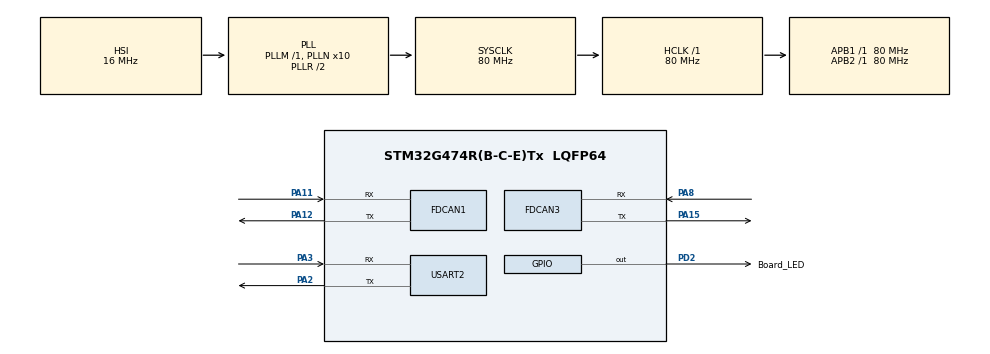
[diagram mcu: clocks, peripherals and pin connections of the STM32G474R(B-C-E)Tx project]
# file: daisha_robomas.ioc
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FDCAN1.CalculateBaudRateNominal=1000000
FDCAN1.CalculateTimeBitNominal=1000
FDCAN1.CalculateTimeQuantumNominal=50.0
FDCAN1.DataPrescaler=2
FDCAN1.DataTimeSeg1=15
FDCAN1.DataTimeSeg2=4
FDCAN1.FrameFormat=FDCAN_FRAME_FD_BRS
FDCAN1.NominalPrescaler=4
FDCAN1.NominalTimeSeg1=15
FDCAN1.NominalTimeSeg2=4
FDCAN1.StdFiltersNbr=1
FDCAN3.CalculateBaudRateNominal=1000000
FDCAN3.CalculateTimeBitNominal=1000
FDCAN3.CalculateTimeQuantumNominal=50.0
FDCAN3.DataPrescaler=2
FDCAN3.DataTimeSeg1=15
FDCAN3.DataTimeSeg2=4
FDCAN3.FrameFormat=FDCAN_FRAME_FD_BRS
FDCAN3.NominalPrescaler=4
FDCAN3.NominalTimeSeg1=15
FDCAN3.NominalTimeSeg2=4
FDCAN3.StdFiltersNbr=1
Mcu.Family=STM32G4
Mcu.Name=STM32G474R(B-C-E)Tx
Mcu.Package=LQFP64
NVIC.FDCAN1_IT0_IRQn=true\:0\:0\:false\:false\:true\:true\:true\:true
NVIC.FDCAN1_IT1_IRQn=true\:0\:0\:false\:false\:true\:true\:true\:true
NVIC.FDCAN3_IT0_IRQn=true\:0\:0\:false\:false\:true\:true\:true\:true
NVIC.FDCAN3_IT1_IRQn=true\:0\:0\:false\:false\:true\:true\:true\:true
NVIC.PriorityGroup=NVIC_PRIORITYGROUP_4
NVIC.TIM1_TRG_COM_TIM17_IRQn=true\:0\:0\:false\:false\:true\:true\:true\:true
NVIC.TIM6_DAC_IRQn=true\:0\:0\:false\:false\:true\:true\:true\:true
NVIC.TIM7_DAC_IRQn=true\:0\:0\:false\:false\:true\:true\:true\:true
NVIC.USART2_IRQn=true\:0\:0\:false\:false\:true\:true\:true\:true
PA11.Mode=FDCAN_Activate
PA11.Signal=FDCAN1_RX
PA12.Mode=FDCAN_Activate
PA12.Signal=FDCAN1_TX
PA15.Mode=FDCAN_Activate
PA15.Signal=FDCAN3_TX
PA2.Mode=Asynchronous
PA2.Signal=USART2_TX
PA3.Mode=Asynchronous
PA3.Signal=USART2_RX
PA8.Mode=FDCAN_Activate
PA8.Signal=FDCAN3_RX
PD2.GPIO_Label=Board_LED
PD2.Signal=GPIO_Output
ProjectManager.HeapSize=0x200
ProjectManager.StackSize=0x400
ProjectManager.TargetToolchain=STM32CubeIDE
RCC.ADC12Freq_Value=80000000
RCC.ADC345Freq_Value=80000000
RCC.AHBFreq_Value=80000000
RCC.APB1Freq_Value=80000000
RCC.APB1TimFreq_Value=80000000
RCC.APB2Freq_Value=80000000
RCC.APB2TimFreq_Value=80000000
RCC.CortexFreq_Value=80000000
RCC.EXTERNAL_CLOCK_VALUE=12288000
RCC.HCLKFreq_Value=80000000
RCC.HSE_VALUE=8000000
RCC.HSI48_VALUE=48000000
RCC.HSI_VALUE=16000000
RCC.LSE_VALUE=32768
RCC.PLLN=10
RCC.SYSCLKFreq_VALUE=80000000
RCC.SYSCLKSource=RCC_SYSCLKSOURCE_PLLCLK
RCC.USBFreq_Value=80000000
RCC.VCOOutputFreq_Value=160000000
TIM17.PeriodNoDither=7999
TIM17.Prescaler=99
TIM6.PeriodNoDither=7999
TIM6.Prescaler=9
TIM7.PeriodNoDither=7999
TIM7.Prescaler=99
USART2.VirtualMode-Asynchronous=VM_ASYNC
VP_SYS_VS_DBSignals.Mode=DisableDeadBatterySignals
VP_TIM17_VS_ClockSourceINT.Mode=Enable_Timer
VP_TIM6_VS_ClockSourceINT.Mode=Enable_Timer
VP_TIM7_VS_ClockSourceINT.Mode=Enable_Timer
board=custom

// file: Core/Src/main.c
/* USER CODE BEGIN Header */
/**
  ******************************************************************************
  * @file           : main.c
  * @brief          : Main program body
  ******************************************************************************
  * @attention
  *
  * Copyright (c) 2024 STMicroelectronics.
  * All rights reserved.
  *
  * This software is licensed under terms that can be found in the LICENSE file
  * in the root directory of this software component.
  * If no LICENSE file comes with this software, it is provided AS-IS.
  *
  ******************************************************************************
  */
/* USER CODE END Header */
#include "main.h"

/* USER CODE BEGIN Includes */
#include <stdio.h>
#include <math.h>
/* USER CODE END Includes */

/* USER CODE BEGIN PTD */
typedef struct{
	uint16_t CANID;
	uint8_t motorID;
	int16_t trgVel;
	volatile int16_t actVel;
	volatile int16_t p_actVel;
	volatile int16_t cu;
	double angle;
	int16_t actCurrent;
	float hensa;
	float ind;
	float w;
}motor;

typedef struct{
	volatile int16_t x;
	volatile int16_t y;
	volatile float theta;
}purpose;
/* USER CODE END PTD */

/* USER CODE BEGIN PD */

#define R_F 4
#define L_F 3
#define R_B 1
#define L_B 2

#define PI 3.1415

#define true 1
#define false 0

#define nobori 0
#define kudari 1
#define ireru 2

#define red_t 0
#define red_o 1

#define yellow_t 2
#define yellow_o 3

#define blue_t 4
#define blue_o 5

#define a 288
/* USER CODE END PD */

FDCAN_HandleTypeDef hfdcan1;
FDCAN_HandleTypeDef hfdcan3;

TIM_HandleTypeDef htim6;
TIM_HandleTypeDef htim7;
TIM_HandleTypeDef htim17;

UART_HandleTypeDef huart2;

/* USER CODE BEGIN PV */
const float a0 = PI/180*45;
const float a1 = PI/180*135;
const float a2 = PI/180*225;
const float a3 = PI/180*315;
const float r = 0.03;//m
const float R = 0.144;//m

FDCAN_TxHeaderTypeDef TxHeader;
FDCAN_RxHeaderTypeDef RxHeader;
FDCAN_TxHeaderTypeDef TxHeader_motor;
FDCAN_RxHeaderTypeDef RxHeader_motor;
FDCAN_FilterTypeDef sFilterConfig;

uint8_t TxData[8] = {};
uint8_t RxData[8] = {};
uint8_t TxData_motor[8] = {};
uint8_t RxData_motor[8] = {};

motor robomas[8] = {
		{0x201, 1, 0, 0, 0, 0, 0, 0, 0, 0, 0},
		{0x202, 2, 0, 0, 0, 0, 0, 0, 0, 0, 0},
		{0x203, 3, 0, 0, 0, 0, 0, 0, 0, 0, 0},
		{0x204, 4, 0, 0, 0, 0, 0, 0, 0, 0, 0},
		{0x205, 5, 0, 0, 0, 0, 0, 0, 0, 0, 0},
		{0x206, 6, 0, 0, 0, 0, 0, 0, 0, 0, 0},
		{0x207, 7, 0, 0, 0, 0, 0, 0, 0, 0, 0},
		{0x208, 8, 0, 0, 0, 0, 0, 0, 0, 0, 0},
};

volatile float k_p = 7, k_i = 0.5, k_d = 0.0001;

float x = 0, y = 0, theta = 0;
float vx = 0, vy = 0, omega = 0;

purpose mokuhyo[] = {
		{-50, 250+a/2, PI/2},
		{-100, 250+a/2, PI/2},//red
		{-50, 900+a/2,PI/2},
		{-100, 900+a/2,PI/2},//yellow
		{-50, 1550+a/2,PI/2},
		{-100, 1550+a/2,PI/2},//blue
		{990, 1550+a/2, PI},
		{}
};
int16_t m_state = 0;

int16_t flag_loc = 0;
int16_t initial;
int16_t flag_servo = 0;

int16_t t_1 = 0, t_3 = 0, t_5 = 0, t_7 = 0;
int16_t state_6_7 = nobori;

int16_t iro_t = 0;
/* USER CODE END PV */

void SystemClock_Config(void);
static void MX_GPIO_Init(void);
static void MX_FDCAN1_Init(void);
static void MX_USART2_UART_Init(void);
static void MX_FDCAN3_Init(void);
static void MX_TIM6_Init(void);
static void MX_TIM7_Init(void);
static void MX_TIM17_Init(void);

/* USER CODE BEGIN 0 */
void HAL_FDCAN_RxFifo0Callback(FDCAN_HandleTypeDef *hfdcan, uint32_t RxFifo0ITs){
	if ((RxFifo0ITs & FDCAN_IT_RX_FIFO0_NEW_MESSAGE) != RESET) {

	        /* Retrieve Rx messages from RX FIFO0 */
		if (HAL_FDCAN_GetRxMessage(&hfdcan3, FDCAN_RX_FIFO0, &RxHeader_motor, RxData_motor) != HAL_OK) {
			printf("fdcan_getrxmessage_motor is error\r\n");
			Error_Handler();
		}
		for (int i=0; i<=7; i++){
			if (RxHeader_motor.Identifier == (robomas[i].CANID)) {
				robomas[i].angle = (int16_t)((RxData_motor[0] << 8) | RxData_motor[1]);
				robomas[i].actVel = (int16_t)((RxData_motor[2] << 8) | RxData_motor[3]);
				robomas[i].actCurrent = (int16_t)((RxData_motor[4] << 8) | RxData_motor[5]);
			}
		}
	}
}

void HAL_FDCAN_RxFifo1Callback(FDCAN_HandleTypeDef *hfdcan, uint32_t RxFifo1ITs){
	if (RESET != (RxFifo1ITs & FDCAN_IT_RX_FIFO1_NEW_MESSAGE)) {

	        /* Retrieve Rx messages from RX FIFO0 */

		if (HAL_OK != HAL_FDCAN_GetRxMessage(&hfdcan1, FDCAN_RX_FIFO1, &RxHeader, RxData)) {
			printf("fdcan_getrxmessage is error\r\n");
			Error_Handler();
		}

		if (0x400 == RxHeader.Identifier) {
			x = (int16_t)((RxData[0] << 8) | RxData[1]);
			y = (int16_t)((RxData[2] << 8) | RxData[3]);
			theta = (int16_t)((RxData[4] << 8) | RxData[5]);
			theta /= 400;
		}
	}
}

void FDCAN_RxTxSettings(void){
	FDCAN_FilterTypeDef FDCAN_Filter_settings;
	FDCAN_Filter_settings.IdType = FDCAN_STANDARD_ID;
	FDCAN_Filter_settings.FilterIndex = 0;
	FDCAN_Filter_settings.FilterType = FDCAN_FILTER_RANGE;
	FDCAN_Filter_settings.FilterConfig = FDCAN_FILTER_TO_RXFIFO1;
	FDCAN_Filter_settings.FilterID1 = 0;
	FDCAN_Filter_settings.FilterID2 = 0x7FF;

	TxHeader.Identifier = 0x000;
	TxHeader.IdType = FDCAN_STANDARD_ID;
	TxHeader.TxFrameType = FDCAN_DATA_FRAME;
	TxHeader.DataLength = FDCAN_DLC_BYTES_8;
	TxHeader.ErrorStateIndicator = FDCAN_ESI_ACTIVE;
	TxHeader.BitRateSwitch = FDCAN_BRS_ON;
	TxHeader.FDFormat = FDCAN_FD_CAN;
	TxHeader.TxEventFifoControl = FDCAN_NO_TX_EVENTS;
	TxHeader.MessageMarker = 0;

	if (HAL_OK != HAL_FDCAN_ConfigFilter(&hfdcan1, &FDCAN_Filter_settings)){
		printf("fdcan_configfilter is error\r\n");
		Error_Handler();
	}

	if (HAL_OK != HAL_FDCAN_ConfigGlobalFilter(&hfdcan1, FDCAN_REJECT, FDCAN_FILTER_REJECT, FDCAN_FILTER_REMOTE, FDCAN_FILTER_REMOTE)){
		printf("fdcan_configglobalfilter is error\r\n");
		Error_Handler();
	}

	if (HAL_OK != HAL_FDCAN_Start(&hfdcan1)) {
		printf("fdcan_start is error\r\n");
		Error_Handler();
	}

	if (HAL_OK != HAL_FDCAN_ActivateNotification(&hfdcan1, FDCAN_IT_RX_FIFO1_NEW_MESSAGE, 0)){
		printf("fdcan_activatenotification is error\r\n");
		Error_Handler();
	}
}

void FDCAN_motor_RxTxSettings(void) {
	FDCAN_FilterTypeDef FDCAN_Filter_settings_motor;
	FDCAN_Filter_settings_motor.IdType = FDCAN_STANDARD_ID;
	FDCAN_Filter_settings_motor.FilterIndex = 0;
	FDCAN_Filter_settings_motor.FilterType = FDCAN_FILTER_RANGE;
	FDCAN_Filter_settings_motor.FilterConfig = FDCAN_FILTER_TO_RXFIFO0;
	FDCAN_Filter_settings_motor.FilterID1 = 0x200;
	FDCAN_Filter_settings_motor.FilterID2 = 0x210;

	TxHeader_motor.Identifier = 0x200;
	TxHeader_motor.IdType = FDCAN_STANDARD_ID;
	TxHeader_motor.TxFrameType = FDCAN_DATA_FRAME;
	TxHeader_motor.DataLength = FDCAN_DLC_BYTES_8;
	TxHeader_motor.ErrorStateIndicator = FDCAN_ESI_ACTIVE;
	TxHeader_motor.BitRateSwitch = FDCAN_BRS_OFF;
	TxHeader_motor.FDFormat = FDCAN_CLASSIC_CAN;
	TxHeader_motor.TxEventFifoControl = FDCAN_NO_TX_EVENTS;
	TxHeader_motor.MessageMarker = 0;

	if (HAL_OK != HAL_FDCAN_ConfigFilter(&hfdcan3, &FDCAN_Filter_settings_motor)){
		printf("fdcan_configfilter is error\r\n");
		Error_Handler();
	}

	if (HAL_OK != HAL_FDCAN_ConfigGlobalFilter(&hfdcan3, FDCAN_REJECT, FDCAN_FILTER_REJECT, FDCAN_FILTER_REMOTE, FDCAN_FILTER_REMOTE)){
		printf("fdcan_configglobalfilter is error\r\n");
		Error_Handler();
	}

	if (HAL_OK != HAL_FDCAN_Start(&hfdcan3)) {
		printf("fdcan_start is error\r\n");
		Error_Handler();
	}

	if (HAL_OK != HAL_FDCAN_ActivateNotification(&hfdcan3, FDCAN_IT_RX_FIFO0_NEW_MESSAGE, 0)){
		printf("fdcan_activatenotification is error\r\n");
		Error_Handler();
	}
}

void omni_calc(float theta,float vx,float vy,float omega,float *w0,float *w1,float *w2,float *w3){

	float v[3] = {vx, vy, omega};
	float sint = sin(theta);
	float cost = cos(theta);

	float arr[4][3] ={
			{-cos(a0)*sint-sin(a0)*cost, cos(a0)*cost-sin(a0)*sint, R},
			{-cos(a1)*sint-sin(a1)*cost, cos(a1)*cost-sin(a1)*sint, R},
			{-cos(a2)*sint-sin(a2)*cost, cos(a2)*cost-sin(a2)*sint, R},
			{-cos(a3)*sint-sin(a3)*cost, cos(a3)*cost-sin(a3)*sint, R}
	};

	*w0 = (arr[0][0] * v[0] + arr[0][1] * v[1] + arr[0][2] * v[2]) / r;
	*w1 = (arr[1][0] * v[0] + arr[1][1] * v[1] + arr[1][2] * v[2]) / r;
	*w2 = (arr[2][0] * v[0] + arr[2][1] * v[1] + arr[2][2] * v[2]) / r;
	*w3 = (arr[3][0] * v[0] + arr[3][1] * v[1] + arr[3][2] * v[2]) / r;
}

void HAL_TIM_PeriodElapsedCallback(TIM_HandleTypeDef *htim){
	if(&htim6 == htim){
		for (int i=0; i<=3; i++){
			robomas[i].hensa = robomas[i].trgVel - robomas[i].actVel;
			if (robomas[i].hensa >= 1000) robomas[i].hensa = 1000;
			else if (robomas[i].hensa <= -1000) robomas[i].hensa = -1000;
			float d = (robomas[i].actVel - robomas[i].p_actVel) / 0.001;
			robomas[i].ind += robomas[i].hensa*0.1;
			if (d >= 30000) d = 30000;
			else if (d <= -30000) d = -30000;
			if (robomas[i].ind >= 10000) robomas[i].ind = 10000;
			else if (robomas[i].ind <= -10000) robomas[i].ind = -10000;

			float t = k_p*robomas[i].hensa;
			if (t>=10000) t = 10000;
			else if (t<=-10000) t = -10000;
			robomas[i].cu = (int16_t)(t+k_i*robomas[i].ind+k_d*d);
			if (robomas[i].cu <= -10000) robomas[i].cu = -10000;
			else if (robomas[i].cu >= 10000) robomas[i].cu = 10000;

			TxData_motor[i*2] = (robomas[i].cu) >> 8;
			TxData_motor[i*2+1] = (uint8_t)((robomas[i].cu) & 0xff);
			robomas[i].p_actVel = robomas[i].actVel;
		}
	}
	if(&htim7 == htim){
		float k_p = 0.001, k_i = 0, k_d = 0;
		float k_p_t = 1, k_i_t = 0, k_d_t = 0;
		float hensax = mokuhyo[m_state].x - x;
		//float dx = (float)x - p_x;
		/*
		mokuhyo[m_state].indx += hensax;*/
		vx = (k_p*hensax/* + k_i*mokuhyo[m_state].indx + k_d*dx*/);

		//p_x = x;

		float hensay = mokuhyo[m_state].y -y;
		//float dy = (float)y - p_y;/*
		//mokuhyo[m_state].indy += hensay;*/
		vy = (k_p*hensay/* + k_i*mokuhyo[m_state].indy + k_d*dy*/);

		//p_y = y;

		float hensat = mokuhyo[m_state].theta - theta;
		//float dt = theta - p_t;/*
		//mokuhyo[m_state].indt += hensat;*/
		omega =(k_p_t*hensat/* + k_i_t*mokuhyo[m_state].indt + k_d_t*dt*/);
/*
		p_t = theta;
		vx_tusin = (int16_t)(vx * 1000);
		vy_tusin = (int16_t)(vy * 1000);
		omega_tusin = (int16_t)(omega * 400);*/
	}
	if(&htim7 == htim){
		if (fabsf(x - mokuhyo[m_state].x) < 10 && fabsf(y - mokuhyo[m_state].y) < 10 && (fabsf(theta) - mokuhyo[m_state].theta) < 0.01) {
			if (red_t == m_state) {
				m_state = red_o;
				flag_loc = 1;
			}
			else if (red_o == m_state) {
				if (t_1 >= 100) {
					m_state = blue_t;
					t_1 = 0;
				}
				else {
					t_1++;
					flag_loc = 1;
				}
			}
			else if (yellow_t == m_state) {
				m_state = yellow_o;
				flag_loc = 1;
			}
			else if (yellow_o == m_state) {
				if (t_3 >= 100) {
					m_state = blue_t;
					t_3 = 0;
				}
				else {
					t_3++;
					flag_loc = 1;
				}
			}
			else if (blue_t == m_state) {
				if (ireru == state_6_7){
					m_state = blue_o;
					flag_loc = 1;
				}
				else if (kudari == state_6_7) {
					m_state = iro_t;
					flag_loc = 1;
					state_6_7 = ireru;
				}
				else if (nobori == state_6_7) {
					m_state = 6;
					flag_loc = 1;
				}
			}
			else if (blue_o == m_state) {
				if (t_5 >= 100) {
					m_state = blue_t;
					t_5 = 0;
					flag_loc = 1;
					state_6_7 = nobori;
				}
				else {
					t_5++;
					flag_loc = 1;
				}
			}
			else if (6 == m_state) {
				if (nobori == state_6_7) {
					m_state = 7;
					flag_loc = 1;
				}
				if (kudari == state_6_7)
				m_state = blue_t;
				flag_loc = 1;
			}
			else if (7 == m_state) {
				if (t_7 >= 100) {
					m_state = 6;
					t_7 = 0;
					state_6_7 = kudari;
				}
				else {
					t_7++;
					flag_loc = 1;
				}
			}

		}
		else {
			flag_loc = 0;
		}
	}
}

int _write(int file, char *ptr, int len)
{
    HAL_UART_Transmit(&huart2,(uint8_t *)ptr,len,10);
    return len;
}
/* USER CODE END 0 */

int main(void)
{

  /* USER CODE BEGIN 1 */
	setbuf(stdout, NULL);
  /* USER CODE END 1 */

  /* MCU Configuration--------------------------------------------------------*/

  /* Reset of all peripherals, Initializes the Flash interface and the Systick. */
  HAL_Init();

  /* Configure the system clock */
  SystemClock_Config();

  /* Initialize all configured peripherals */
  MX_GPIO_Init();
  MX_FDCAN1_Init();
  MX_USART2_UART_Init();
  MX_FDCAN3_Init();
  MX_TIM6_Init();
  MX_TIM7_Init();
  MX_TIM17_Init();
  /* USER CODE BEGIN 2 */
  printf("start\r\n");
  FDCAN_motor_RxTxSettings();
  printf("can_motor_start\r\n");
  FDCAN_RxTxSettings();
  printf("can start\r\n");
  HAL_TIM_Base_Start_IT(&htim6);
  HAL_TIM_Base_Start_IT(&htim7);
  HAL_TIM_Base_Start_IT(&htim17);
  /* USER CODE END 2 */

  /* Infinite loop */
  /* USER CODE BEGIN WHILE */
  while (1)
  {
	  if (vx > 1) {
		  vx = 1;
	  }
	  if (vx < -1) {
		  vx = -1;
	  }
	  if (vy > 1) {
		  vy = 1;
	  }
	  if (vy < -1) {
		  vy = -1;
	  }
	  if (omega > 1) {
		  omega = 1;
	  }
	  if (omega < -1) {
		  omega = -1;
	  }
	  omni_calc(theta ,vx, vy, omega, &robomas[R_F-1].w, &robomas[L_F-1].w, &robomas[L_B-1].w, &robomas[R_B-1].w);
	  robomas[R_F-1].trgVel = (int)(-1*robomas[R_F-1].w*36*60/(2*PI));
	  robomas[R_B-1].trgVel = (int)(-1*robomas[R_B-1].w*36*60/(2*PI));
	  robomas[L_F-1].trgVel =  (int)(-1*robomas[L_F-1].w*36*60/(2*PI));
	  robomas[L_B-1].trgVel = (int)(-1*robomas[L_B-1].w*36*60/(2*PI));

	  if (HAL_FDCAN_AddMessageToTxFifoQ(&hfdcan3, &TxHeader_motor, TxData_motor) != HAL_OK){
		  printf("addmassage is error\r\n");
		  Error_Handler();
	  }
	  TxHeader.Identifier = 0x210;
	  TxData[0] = flag_loc;
	  if (HAL_FDCAN_AddMessageToTxFifoQ(&hfdcan1, &TxHeader, TxData)) {
		  printf("addmassage is error\r\n");
		  Error_Handler();
	  }
	  printf("%f, %f, %f, %f, %f, %f\r\n", x, y, theta, vx, vy, omega);
	  //printf("%d, %d, %f, %f, %f, %f\r\n", mokuhyo[m_state].x, mokuhyo[m_state].y, mokuhyo[m_state].theta, vx, vy, omega);
	  HAL_Delay(10);
    /* USER CODE END WHILE */

  }
}

void SystemClock_Config(void)
{
  RCC_OscInitTypeDef RCC_OscInitStruct = {0};
  RCC_ClkInitTypeDef RCC_ClkInitStruct = {0};

  /** Configure the main internal regulator output voltage
  */
  HAL_PWREx_ControlVoltageScaling(PWR_REGULATOR_VOLTAGE_SCALE1);

  /** Initializes the RCC Oscillators according to the specified parameters
  * in the RCC_OscInitTypeDef structure.
  */
  RCC_OscInitStruct.OscillatorType = RCC_OSCILLATORTYPE_HSI;
  RCC_OscInitStruct.HSIState = RCC_HSI_ON;
  RCC_OscInitStruct.HSICalibrationValue = RCC_HSICALIBRATION_DEFAULT;
  RCC_OscInitStruct.PLL.PLLState = RCC_PLL_ON;
  RCC_OscInitStruct.PLL.PLLSource = RCC_PLLSOURCE_HSI;
  RCC_OscInitStruct.PLL.PLLM = RCC_PLLM_DIV1;
  RCC_OscInitStruct.PLL.PLLN = 10;
  RCC_OscInitStruct.PLL.PLLP = RCC_PLLP_DIV2;
  RCC_OscInitStruct.PLL.PLLQ = RCC_PLLQ_DIV2;
  RCC_OscInitStruct.PLL.PLLR = RCC_PLLR_DIV2;
  if (HAL_RCC_OscConfig(&RCC_OscInitStruct) != HAL_OK)
  {
    Error_Handler();
  }

  /** Initializes the CPU, AHB and APB buses clocks
  */
  RCC_ClkInitStruct.ClockType = RCC_CLOCKTYPE_HCLK|RCC_CLOCKTYPE_SYSCLK
                              |RCC_CLOCKTYPE_PCLK1|RCC_CLOCKTYPE_PCLK2;
  RCC_ClkInitStruct.SYSCLKSource = RCC_SYSCLKSOURCE_PLLCLK;
  RCC_ClkInitStruct.AHBCLKDivider = RCC_SYSCLK_DIV1;
  RCC_ClkInitStruct.APB1CLKDivider = RCC_HCLK_DIV1;
  RCC_ClkInitStruct.APB2CLKDivider = RCC_HCLK_DIV1;

  if (HAL_RCC_ClockConfig(&RCC_ClkInitStruct, FLASH_LATENCY_2) != HAL_OK)
  {
    Error_Handler();
  }
}

static void MX_FDCAN1_Init(void)
{

  hfdcan1.Instance = FDCAN1;
  hfdcan1.Init.ClockDivider = FDCAN_CLOCK_DIV1;
  hfdcan1.Init.FrameFormat = FDCAN_FRAME_FD_BRS;
  hfdcan1.Init.Mode = FDCAN_MODE_NORMAL;
  hfdcan1.Init.AutoRetransmission = DISABLE;
  hfdcan1.Init.TransmitPause = DISABLE;
  hfdcan1.Init.ProtocolException = DISABLE;
  hfdcan1.Init.NominalPrescaler = 4;
  hfdcan1.Init.NominalSyncJumpWidth = 1;
  hfdcan1.Init.NominalTimeSeg1 = 15;
  hfdcan1.Init.NominalTimeSeg2 = 4;
  hfdcan1.Init.DataPrescaler = 2;
  hfdcan1.Init.DataSyncJumpWidth = 1;
  hfdcan1.Init.DataTimeSeg1 = 15;
  hfdcan1.Init.DataTimeSeg2 = 4;
  hfdcan1.Init.StdFiltersNbr = 1;
  hfdcan1.Init.ExtFiltersNbr = 0;
  hfdcan1.Init.TxFifoQueueMode = FDCAN_TX_FIFO_OPERATION;
  if (HAL_FDCAN_Init(&hfdcan1) != HAL_OK)
  {
    Error_Handler();
  }

}

static void MX_FDCAN3_Init(void)
{

  hfdcan3.Instance = FDCAN3;
  hfdcan3.Init.ClockDivider = FDCAN_CLOCK_DIV1;
  hfdcan3.Init.FrameFormat = FDCAN_FRAME_FD_BRS;
  hfdcan3.Init.Mode = FDCAN_MODE_NORMAL;
  hfdcan3.Init.AutoRetransmission = DISABLE;
  hfdcan3.Init.TransmitPause = DISABLE;
  hfdcan3.Init.ProtocolException = DISABLE;
  hfdcan3.Init.NominalPrescaler = 4;
  hfdcan3.Init.NominalSyncJumpWidth = 1;
  hfdcan3.Init.NominalTimeSeg1 = 15;
  hfdcan3.Init.NominalTimeSeg2 = 4;
  hfdcan3.Init.DataPrescaler = 2;
  hfdcan3.Init.DataSyncJumpWidth = 1;
  hfdcan3.Init.DataTimeSeg1 = 15;
  hfdcan3.Init.DataTimeSeg2 = 4;
  hfdcan3.Init.StdFiltersNbr = 1;
  hfdcan3.Init.ExtFiltersNbr = 0;
  hfdcan3.Init.TxFifoQueueMode = FDCAN_TX_FIFO_OPERATION;
  if (HAL_FDCAN_Init(&hfdcan3) != HAL_OK)
  {
    Error_Handler();
  }

}

static void MX_TIM6_Init(void)
{

  TIM_MasterConfigTypeDef sMasterConfig = {0};

  htim6.Instance = TIM6;
  htim6.Init.Prescaler = 9;
  htim6.Init.CounterMode = TIM_COUNTERMODE_UP;
  htim6.Init.Period = 7999;
  htim6.Init.AutoReloadPreload = TIM_AUTORELOAD_PRELOAD_DISABLE;
  if (HAL_TIM_Base_Init(&htim6) != HAL_OK)
  {
    Error_Handler();
  }
  sMasterConfig.MasterOutputTrigger = TIM_TRGO_RESET;
  sMasterConfig.MasterSlaveMode = TIM_MASTERSLAVEMODE_DISABLE;
  if (HAL_TIMEx_MasterConfigSynchronization(&htim6, &sMasterConfig) != HAL_OK)
  {
    Error_Handler();
  }

}

static void MX_TIM7_Init(void)
{

  TIM_MasterConfigTypeDef sMasterConfig = {0};

  htim7.Instance = TIM7;
  htim7.Init.Prescaler = 99;
  htim7.Init.CounterMode = TIM_COUNTERMODE_UP;
  htim7.Init.Period = 7999;
  htim7.Init.AutoReloadPreload = TIM_AUTORELOAD_PRELOAD_DISABLE;
  if (HAL_TIM_Base_Init(&htim7) != HAL_OK)
  {
    Error_Handler();
  }
  sMasterConfig.MasterOutputTrigger = TIM_TRGO_RESET;
  sMasterConfig.MasterSlaveMode = TIM_MASTERSLAVEMODE_DISABLE;
  if (HAL_TIMEx_MasterConfigSynchronization(&htim7, &sMasterConfig) != HAL_OK)
  {
    Error_Handler();
  }

}

static void MX_TIM17_Init(void)
{

  htim17.Instance = TIM17;
  htim17.Init.Prescaler = 99;
  htim17.Init.CounterMode = TIM_COUNTERMODE_UP;
  htim17.Init.Period = 7999;
  htim17.Init.ClockDivision = TIM_CLOCKDIVISION_DIV1;
  htim17.Init.RepetitionCounter = 0;
  htim17.Init.AutoReloadPreload = TIM_AUTORELOAD_PRELOAD_DISABLE;
  if (HAL_TIM_Base_Init(&htim17) != HAL_OK)
  {
    Error_Handler();
  }

}

static void MX_USART2_UART_Init(void)
{

  huart2.Instance = USART2;
  huart2.Init.BaudRate = 115200;
  huart2.Init.WordLength = UART_WORDLENGTH_8B;
  huart2.Init.StopBits = UART_STOPBITS_1;
  huart2.Init.Parity = UART_PARITY_NONE;
  huart2.Init.Mode = UART_MODE_TX_RX;
  huart2.Init.HwFlowCtl = UART_HWCONTROL_NONE;
  huart2.Init.OverSampling = UART_OVERSAMPLING_16;
  huart2.Init.OneBitSampling = UART_ONE_BIT_SAMPLE_DISABLE;
  huart2.Init.ClockPrescaler = UART_PRESCALER_DIV1;
  huart2.AdvancedInit.AdvFeatureInit = UART_ADVFEATURE_NO_INIT;
  if (HAL_UART_Init(&huart2) != HAL_OK)
  {
    Error_Handler();
  }
  if (HAL_UARTEx_SetTxFifoThreshold(&huart2, UART_TXFIFO_THRESHOLD_1_8) != HAL_OK)
  {
    Error_Handler();
  }
  if (HAL_UARTEx_SetRxFifoThreshold(&huart2, UART_RXFIFO_THRESHOLD_1_8) != HAL_OK)
  {
    Error_Handler();
  }
  if (HAL_UARTEx_DisableFifoMode(&huart2) != HAL_OK)
  {
    Error_Handler();
  }

}

static void MX_GPIO_Init(void)
{
  GPIO_InitTypeDef GPIO_InitStruct = {0};

  /* GPIO Ports Clock Enable */
  __HAL_RCC_GPIOA_CLK_ENABLE();
  __HAL_RCC_GPIOD_CLK_ENABLE();

  /*Configure GPIO pin Output Level */
  HAL_GPIO_WritePin(Board_LED_GPIO_Port, Board_LED_Pin, GPIO_PIN_RESET);

  /*Configure GPIO pin : Board_LED_Pin */
  GPIO_InitStruct.Pin = Board_LED_Pin;
  GPIO_InitStruct.Mode = GPIO_MODE_OUTPUT_PP;
  GPIO_InitStruct.Pull = GPIO_NOPULL;
  GPIO_InitStruct.Speed = GPIO_SPEED_FREQ_LOW;
  HAL_GPIO_Init(Board_LED_GPIO_Port, &GPIO_InitStruct);

}

void Error_Handler(void)
{
  __disable_irq();
  while (1)
  {
  }
}
